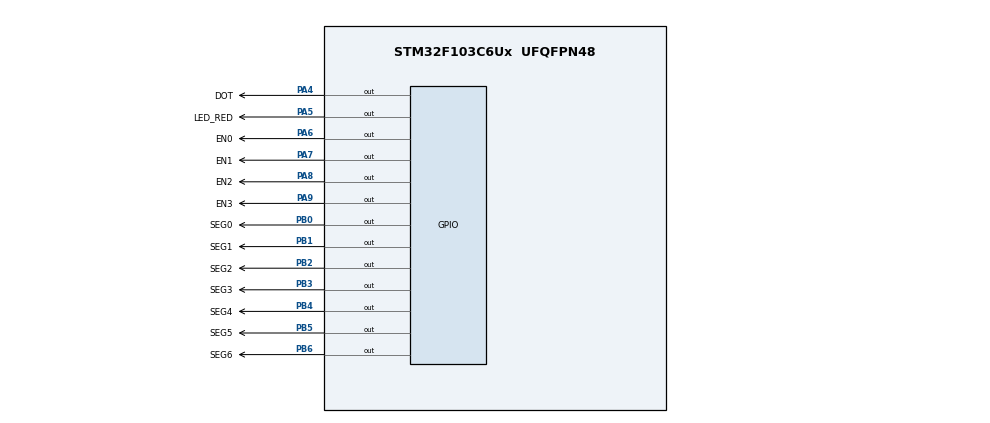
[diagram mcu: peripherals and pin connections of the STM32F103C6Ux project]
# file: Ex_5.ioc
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Mcu.Family=STM32F1
Mcu.Name=STM32F103C6Ux
Mcu.Package=UFQFPN48
NVIC.PriorityGroup=NVIC_PRIORITYGROUP_4
NVIC.TIM2_IRQn=true\:0\:0\:false\:false\:true\:true\:true
PA4.GPIO_Label=DOT
PA4.Signal=GPIO_Output
PA5.GPIO_Label=LED_RED
PA5.Signal=GPIO_Output
PA6.GPIO_Label=EN0
PA6.Signal=GPIO_Output
PA7.GPIO_Label=EN1
PA7.Signal=GPIO_Output
PA8.GPIO_Label=EN2
PA8.Signal=GPIO_Output
PA9.GPIO_Label=EN3
PA9.Signal=GPIO_Output
PB0.GPIO_Label=SEG0
PB0.Signal=GPIO_Output
PB1.GPIO_Label=SEG1
PB1.Signal=GPIO_Output
PB2.GPIO_Label=SEG2
PB2.Signal=GPIO_Output
PB3.GPIO_Label=SEG3
PB3.Signal=GPIO_Output
PB4.GPIO_Label=SEG4
PB4.Signal=GPIO_Output
PB5.GPIO_Label=SEG5
PB5.Signal=GPIO_Output
PB6.GPIO_Label=SEG6
PB6.Signal=GPIO_Output
ProjectManager.HeapSize=0x200
ProjectManager.StackSize=0x400
ProjectManager.TargetToolchain=STM32CubeIDE
RCC.APB1Freq_Value=8000000
RCC.APB2Freq_Value=8000000
TIM2.Period=9
TIM2.Prescaler=7999
VP_SYS_VS_ND.Mode=No_Debug
VP_TIM2_VS_ClockSourceINT.Mode=Internal
board=custom

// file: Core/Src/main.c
/* USER CODE BEGIN Header */
/**
  ******************************************************************************
  * @file           : main.c
  * @brief          : Main program body
  ******************************************************************************
  * @attention
  *
  * <h2><center>&copy; Copyright (c) 2023 STMicroelectronics.
  * All rights reserved.</center></h2>
  *
  * This software component is licensed by ST under BSD 3-Clause license,
  * the "License"; You may not use this file except in compliance with the
  * License. You may obtain a copy of the License at:
  *                        opensource.org/licenses/BSD-3-Clause
  *
  ******************************************************************************
  */
/* USER CODE END Header */
#include "main.h"

TIM_HandleTypeDef htim2;

void SystemClock_Config(void);
static void MX_GPIO_Init(void);
static void MX_TIM2_Init(void);
/* USER CODE BEGIN PFP */
void update7SEG(int index);
void display7SEG(int num);
void updateClockBuffer(void);
/* USER CODE END PFP */

/* USER CODE BEGIN 0 */
int hour = 15, minute = 8, second = 50;
/* USER CODE END 0 */

int main(void)
{

  /* MCU Configuration--------------------------------------------------------*/

  /* Reset of all peripherals, Initializes the Flash interface and the Systick. */
  HAL_Init();

  /* Configure the system clock */
  SystemClock_Config();

  /* Initialize all configured peripherals */
  MX_GPIO_Init();
  MX_TIM2_Init();
  /* USER CODE BEGIN 2 */
  HAL_TIM_Base_Start_IT(&htim2);
  /* USER CODE END 2 */

  /* Infinite loop */
  /* USER CODE BEGIN WHILE */
  while (1)
  {
	  second++;
	  if(second >= 60) {
		  minute++;
		  second = 0;
	  }
	  if(minute >= 60) {
		  hour++;
		  minute = 0;
	  }
	  if(hour >= 24) {
		  hour = 0;
	  }
	  updateClockBuffer();
	  HAL_Delay(1000);
  }
  /* USER CODE END 3 */
}

void SystemClock_Config(void)
{
  RCC_OscInitTypeDef RCC_OscInitStruct = {0};
  RCC_ClkInitTypeDef RCC_ClkInitStruct = {0};

  /** Initializes the RCC Oscillators according to the specified parameters
  * in the RCC_OscInitTypeDef structure.
  */
  RCC_OscInitStruct.OscillatorType = RCC_OSCILLATORTYPE_HSI;
  RCC_OscInitStruct.HSIState = RCC_HSI_ON;
  RCC_OscInitStruct.HSICalibrationValue = RCC_HSICALIBRATION_DEFAULT;
  RCC_OscInitStruct.PLL.PLLState = RCC_PLL_NONE;
  if (HAL_RCC_OscConfig(&RCC_OscInitStruct) != HAL_OK)
  {
    Error_Handler();
  }
  /** Initializes the CPU, AHB and APB buses clocks
  */
  RCC_ClkInitStruct.ClockType = RCC_CLOCKTYPE_HCLK|RCC_CLOCKTYPE_SYSCLK
                              |RCC_CLOCKTYPE_PCLK1|RCC_CLOCKTYPE_PCLK2;
  RCC_ClkInitStruct.SYSCLKSource = RCC_SYSCLKSOURCE_HSI;
  RCC_ClkInitStruct.AHBCLKDivider = RCC_SYSCLK_DIV1;
  RCC_ClkInitStruct.APB1CLKDivider = RCC_HCLK_DIV1;
  RCC_ClkInitStruct.APB2CLKDivider = RCC_HCLK_DIV1;

  if (HAL_RCC_ClockConfig(&RCC_ClkInitStruct, FLASH_LATENCY_0) != HAL_OK)
  {
    Error_Handler();
  }
}

static void MX_TIM2_Init(void)
{

  TIM_ClockConfigTypeDef sClockSourceConfig = {0};
  TIM_MasterConfigTypeDef sMasterConfig = {0};

  htim2.Instance = TIM2;
  htim2.Init.Prescaler = 7999;
  htim2.Init.CounterMode = TIM_COUNTERMODE_UP;
  htim2.Init.Period = 9;
  htim2.Init.ClockDivision = TIM_CLOCKDIVISION_DIV1;
  htim2.Init.AutoReloadPreload = TIM_AUTORELOAD_PRELOAD_DISABLE;
  if (HAL_TIM_Base_Init(&htim2) != HAL_OK)
  {
    Error_Handler();
  }
  sClockSourceConfig.ClockSource = TIM_CLOCKSOURCE_INTERNAL;
  if (HAL_TIM_ConfigClockSource(&htim2, &sClockSourceConfig) != HAL_OK)
  {
    Error_Handler();
  }
  sMasterConfig.MasterOutputTrigger = TIM_TRGO_RESET;
  sMasterConfig.MasterSlaveMode = TIM_MASTERSLAVEMODE_DISABLE;
  if (HAL_TIMEx_MasterConfigSynchronization(&htim2, &sMasterConfig) != HAL_OK)
  {
    Error_Handler();
  }

}

static void MX_GPIO_Init(void)
{
  GPIO_InitTypeDef GPIO_InitStruct = {0};

  /* GPIO Ports Clock Enable */
  __HAL_RCC_GPIOA_CLK_ENABLE();
  __HAL_RCC_GPIOB_CLK_ENABLE();

  /*Configure GPIO pin Output Level */
  HAL_GPIO_WritePin(GPIOA, DOT_Pin|LED_RED_Pin|EN0_Pin|EN1_Pin
                          |EN2_Pin|EN3_Pin, GPIO_PIN_RESET);

  /*Configure GPIO pin Output Level */
  HAL_GPIO_WritePin(GPIOB, SEG0_Pin|SEG1_Pin|SEG2_Pin|SEG3_Pin
                          |SEG4_Pin|SEG5_Pin|SEG6_Pin, GPIO_PIN_RESET);

  /*Configure GPIO pins : DOT_Pin LED_RED_Pin EN0_Pin EN1_Pin
                           EN2_Pin EN3_Pin */
  GPIO_InitStruct.Pin = DOT_Pin|LED_RED_Pin|EN0_Pin|EN1_Pin
                          |EN2_Pin|EN3_Pin;
  GPIO_InitStruct.Mode = GPIO_MODE_OUTPUT_PP;
  GPIO_InitStruct.Pull = GPIO_NOPULL;
  GPIO_InitStruct.Speed = GPIO_SPEED_FREQ_LOW;
  HAL_GPIO_Init(GPIOA, &GPIO_InitStruct);

  /*Configure GPIO pins : SEG0_Pin SEG1_Pin SEG2_Pin SEG3_Pin
                           SEG4_Pin SEG5_Pin SEG6_Pin */
  GPIO_InitStruct.Pin = SEG0_Pin|SEG1_Pin|SEG2_Pin|SEG3_Pin
                          |SEG4_Pin|SEG5_Pin|SEG6_Pin;
  GPIO_InitStruct.Mode = GPIO_MODE_OUTPUT_PP;
  GPIO_InitStruct.Pull = GPIO_NOPULL;
  GPIO_InitStruct.Speed = GPIO_SPEED_FREQ_LOW;
  HAL_GPIO_Init(GPIOB, &GPIO_InitStruct);

}

/* USER CODE BEGIN 4 */
const int MAX_LED = 4;
int index_led = 0;
int led_buffer[4] = {1, 3, 5, 7};
int counter = 100;
int led_toggle = 1;

void HAL_TIM_PeriodElapsedCallback(TIM_HandleTypeDef *htim) {
	if(counter <= 0) {
		--led_toggle;
		counter = 100;
		update7SEG(index_led);
		index_led = (index_led+1) % 4;
	}
	if(led_toggle <= 0) {
		HAL_GPIO_TogglePin(DOT_GPIO_Port, DOT_Pin);
		led_toggle = 1;
	}
	--counter;
}

void display7SEG(int num) {
	switch (num) {
	case 0:
		HAL_GPIO_WritePin(GPIOB, SEG6_Pin, GPIO_PIN_SET);
		HAL_GPIO_WritePin(GPIOB, SEG0_Pin|SEG1_Pin|SEG2_Pin|
				SEG3_Pin|SEG4_Pin|SEG5_Pin, GPIO_PIN_RESET);
		break;
	case 1:
		HAL_GPIO_WritePin(GPIOB, SEG0_Pin|
				SEG3_Pin|SEG4_Pin|SEG5_Pin|SEG6_Pin, GPIO_PIN_SET);
		HAL_GPIO_WritePin(GPIOB, SEG1_Pin|SEG2_Pin, GPIO_PIN_RESET);
		break;
	case 2:
		HAL_GPIO_WritePin(GPIOB, SEG2_Pin|SEG5_Pin, GPIO_PIN_SET);
		HAL_GPIO_WritePin(GPIOB, SEG0_Pin|SEG1_Pin|
				SEG3_Pin|SEG4_Pin|SEG6_Pin, GPIO_PIN_RESET);
		break;
	case 3:
		HAL_GPIO_WritePin(GPIOB, SEG4_Pin|SEG5_Pin, GPIO_PIN_SET);
		HAL_GPIO_WritePin(GPIOB, SEG0_Pin|SEG1_Pin|SEG2_Pin|
				SEG3_Pin|SEG6_Pin, GPIO_PIN_RESET);
		break;
	case 4:
		HAL_GPIO_WritePin(GPIOB, SEG0_Pin|SEG3_Pin|SEG4_Pin, GPIO_PIN_SET);
		HAL_GPIO_WritePin(GPIOB, SEG1_Pin|SEG2_Pin|
				SEG5_Pin|SEG6_Pin, GPIO_PIN_RESET);
		break;
	case 5:
		HAL_GPIO_WritePin(GPIOB, SEG1_Pin|SEG4_Pin, GPIO_PIN_SET);
		HAL_GPIO_WritePin(GPIOB, SEG0_Pin|SEG2_Pin|SEG3_Pin|
				SEG5_Pin|SEG6_Pin, GPIO_PIN_RESET);
		break;
	case 6:
		HAL_GPIO_WritePin(GPIOB, SEG1_Pin, GPIO_PIN_SET);
		HAL_GPIO_WritePin(GPIOB, SEG0_Pin|SEG2_Pin|SEG3_Pin|SEG4_Pin|
				SEG5_Pin|SEG6_Pin, GPIO_PIN_RESET);
		break;
	case 7:
		HAL_GPIO_WritePin(GPIOB, SEG3_Pin|SEG4_Pin|
				SEG5_Pin|SEG6_Pin, GPIO_PIN_SET);
		HAL_GPIO_WritePin(GPIOB, SEG0_Pin|SEG1_Pin|SEG2_Pin, GPIO_PIN_RESET);
		break;
	case 8:
		HAL_GPIO_WritePin(GPIOB, SEG0_Pin|SEG1_Pin|SEG2_Pin|SEG3_Pin|SEG4_Pin|
				SEG5_Pin|SEG6_Pin, GPIO_PIN_RESET);
		break;
	case 9:
		HAL_GPIO_WritePin(GPIOB, SEG4_Pin, GPIO_PIN_SET);
		HAL_GPIO_WritePin(GPIOB, SEG0_Pin|SEG1_Pin|SEG2_Pin|SEG3_Pin|
				SEG5_Pin|SEG6_Pin, GPIO_PIN_RESET);
		break;
	default:
		HAL_GPIO_WritePin(GPIOB, SEG0_Pin|SEG1_Pin|SEG2_Pin|SEG3_Pin|SEG4_Pin|
				SEG5_Pin|SEG6_Pin, GPIO_PIN_SET);
		break;
	}
}

void update7SEG(int index_led) {
	switch (index_led) {
	case 0:
		// Display the first 7 SEG with led_buffer [0]
		HAL_GPIO_WritePin(GPIOA, EN0_Pin, GPIO_PIN_RESET);
		HAL_GPIO_WritePin(GPIOA, EN1_Pin, GPIO_PIN_SET);
		HAL_GPIO_WritePin(GPIOA, EN2_Pin, GPIO_PIN_SET);
		HAL_GPIO_WritePin(GPIOA, EN3_Pin, GPIO_PIN_SET);
		display7SEG(led_buffer[index_led]);
		break;
	case 1:
		// Display the second 7 SEG with led_buffer [1]
		HAL_GPIO_WritePin(GPIOA, EN0_Pin, GPIO_PIN_SET);
		HAL_GPIO_WritePin(GPIOA, EN1_Pin, GPIO_PIN_RESET);
		HAL_GPIO_WritePin(GPIOA, EN2_Pin, GPIO_PIN_SET);
		HAL_GPIO_WritePin(GPIOA, EN3_Pin, GPIO_PIN_SET);
		display7SEG(led_buffer[index_led]);
		break;
	case 2:
		// Display the third 7 SEG with led_buffer [2]
		HAL_GPIO_WritePin(GPIOA, EN0_Pin, GPIO_PIN_SET);
		HAL_GPIO_WritePin(GPIOA, EN1_Pin, GPIO_PIN_SET);
		HAL_GPIO_WritePin(GPIOA, EN2_Pin, GPIO_PIN_RESET);
		HAL_GPIO_WritePin(GPIOA, EN3_Pin, GPIO_PIN_SET);
		display7SEG(led_buffer[index_led]);
		break;
	case 3:
		// Display the forth 7 SEG with led_buffer [3]
		HAL_GPIO_WritePin(GPIOA, EN0_Pin, GPIO_PIN_SET);
		HAL_GPIO_WritePin(GPIOA, EN1_Pin, GPIO_PIN_SET);
		HAL_GPIO_WritePin(GPIOA, EN2_Pin, GPIO_PIN_SET);
		HAL_GPIO_WritePin(GPIOA, EN3_Pin, GPIO_PIN_RESET);
		display7SEG(led_buffer[index_led]);
		break;
	}
}

void updateClockBuffer(void) {
	led_buffer[0] = hour / 10;
	led_buffer[1] = hour % 10;
	led_buffer[2] = minute / 10;
	led_buffer[3] = minute % 10;
}
/* USER CODE END 4 */

void Error_Handler(void)
{
  __disable_irq();
  while (1)
  {
  }
}

/************************ (C) COPYRIGHT STMicroelectronics *****END OF FILE****/
